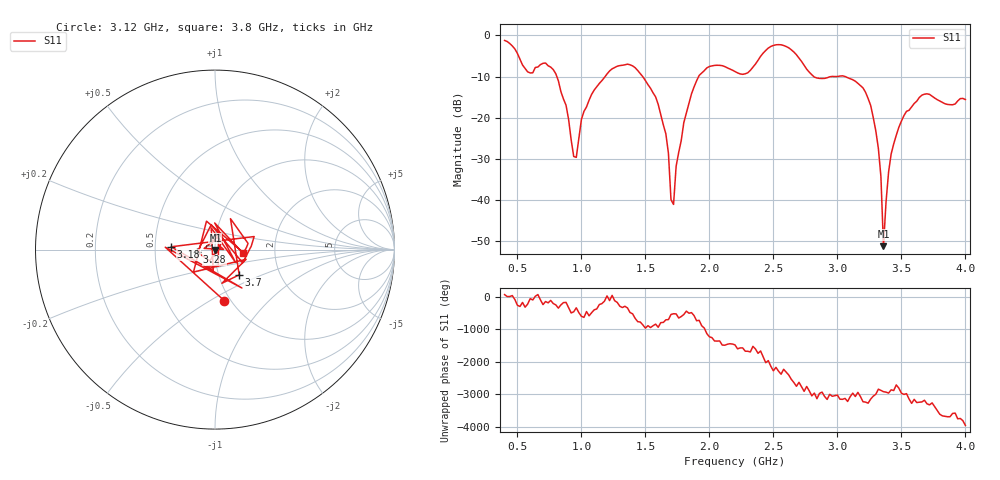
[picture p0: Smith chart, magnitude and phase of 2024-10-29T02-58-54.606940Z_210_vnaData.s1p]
!Created with skrf (http://scikit-rf.org).
# Hz S RI R 50.0
!freq ReS11 ImS11
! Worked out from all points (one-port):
!   181 points, 400 MHz to 4 GHz, reference 50 ohm
!   lowest |S11| = -51.3 dB at 3.36 GHz (marker M1), VSWR 1.01, Z = 50.2 - j0.153 ohm
!   |S11| at or under -10 dB: 807.9 MHz to 1.185 GHz (377.5 MHz wide, 37.9 % of centre); 1.479 GHz to 1.916 GHz (437.1 MHz wide, 25.8 % of centre); 3.061 GHz to end of sweep (the widest 3 of 5)
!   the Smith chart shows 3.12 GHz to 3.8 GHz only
!   S11 on the Smith chart (normalised r, x): 3.12 GHz: 0.93, -0.58; 3.18 GHz: 0.61, +0.02; 3.28 GHz: 0.82, -0.02; 3.7 GHz: 1.25, -0.37; 3.8 GHz: 1.38, -0.05
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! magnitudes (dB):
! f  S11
! 400 MHz  -1.2
! 580 MHz  -8.9
! 780 MHz  -8.3
! 860 MHz  -15.5
! 960 MHz  -29.7
! 1 GHz  -20.5
! 1.08 GHz  -14.3
! 1.3 GHz  -7.3
! 1.58 GHz  -15.0
! 1.66 GHz  -24.0
! 1.7 GHz  -40.0
! 1.72 GHz  -41.2
! 1.76 GHz  -28.5
! 1.92 GHz  -9.7
! 2.2 GHz  -8.8
! 2.66 GHz  -4.0
! 2.82 GHz  -10.1
! 3.1 GHz  -10.5
! 3.12 GHz  -10.8
! 3.18 GHz  -12.2
! 3.28 GHz  -20.0
! 3.34 GHz  -34.4
! 3.36 GHz  -51.3
! 3.42 GHz  -28.9
! 3.56 GHz  -18.2
! 3.7 GHz  -14.2
! 3.8 GHz  -16.0
! 4 GHz  -15.6
